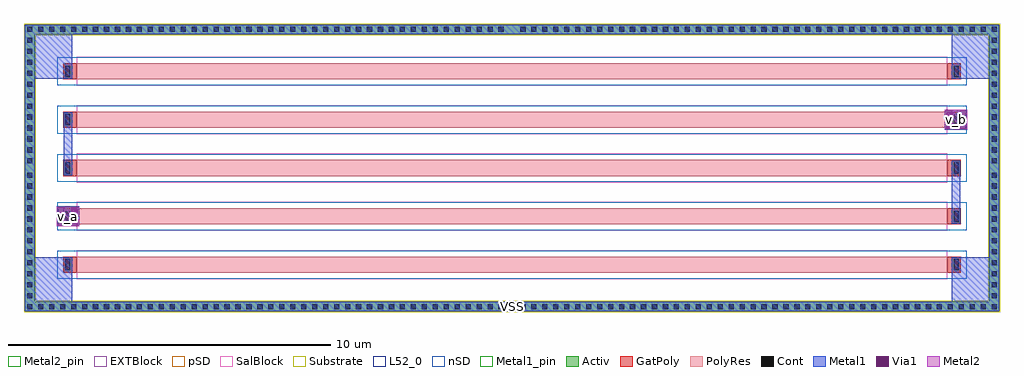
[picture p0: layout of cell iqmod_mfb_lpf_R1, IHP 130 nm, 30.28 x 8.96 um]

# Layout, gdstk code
from math import pi, radians
import gdstk
lib = gdstk.Library(unit=1e-6, precision=5e-09)
def R(c, l, rs):  # rectangles x0, y0, x1, y1
    for r in rs: c.add(gdstk.rectangle(r[:2], r[2:], *l))
def A(c, l, x, y, w, h, nx, ny, dx, dy):  # array of equal rectangles
    R(c, l, [(x+i*dx, y+j*dy, x+i*dx+w, y+j*dy+h) for i in range(nx) for j in range(ny)])
def P(c, l, *ps):  # polygons
    for p in ps: c.add(gdstk.Polygon(p, *l))
Activ = (1, 0)
GatPoly = (5, 0)
Cont = (6, 0)
nSD = (7, 0)
Metal1 = (8, 0)
Metal1_pin = (8, 2)
Metal2 = (10, 0)
Metal2_pin = (10, 2)
pSD = (14, 0)
Via1 = (19, 0)
SalBlock = (28, 0)
Substrate = (40, 0)
L52_0 = (52, 0)
EXTBlock = (111, 0)
PolyRes = (128, 0)

via_stack_1 = lib.new_cell('via_stack$1')
R(via_stack_1, Metal1, [(-0.35,-0.31,0.35,0.31)])
R(via_stack_1, Metal2, [(-0.35,-0.305,0.35,0.305)])
R(via_stack_1, Via1, [(-0.3,-0.3,-0.11,-0.11), (0.11,-0.3,0.3,-0.11), (-0.3,0.11,-0.11,0.3), (0.11,0.11,0.3,0.3)])

rhigh_3 = lib.new_cell('rhigh$3')
A(rhigh_3, GatPoly, 0, -0.43, 0.5, 0.43, 3, 2, 1.5, 27.43)
A(rhigh_3, Cont, 0.07, -0.36, 0.36, 0.16, 3, 2, 1.5, 27.56)
A(rhigh_3, nSD, -0.18, -0.61, 0.86, 0.79, 3, 2, 1.5, 27.43)
R(rhigh_3, nSD, [(-0.18,0,0.68,27), (-0.18,0,0.68,27), (1.32,0,2.18,27), (1.32,0,2.18,27), (2.82,0,3.68,27), (2.82,0,3.68,27)])
A(rhigh_3, Metal1, 0.02, -0.41, 0.46, 0.26, 3, 2, 1.5, 27.56)
R(rhigh_3, Metal1, [(1.52,-0.41,3.48,-0.15), (0.02,27.15,1.98,27.41)])
A(rhigh_3, Metal1_pin, 0.02, -0.41, 0.46, 0.26, 3, 2, 1.5, 27.56)
A(rhigh_3, pSD, -0.18, -0.61, 0.86, 0.79, 3, 2, 1.5, 27.43)
R(rhigh_3, pSD, [(-0.18,0,0.68,27), (-0.18,0,0.68,27), (1.32,0,2.18,27), (1.32,0,2.18,27), (2.82,0,3.68,27), (2.82,0,3.68,27)])
A(rhigh_3, SalBlock, -0.2, 0, 0.9, 27, 3, 1, 1.5, 0)
A(rhigh_3, L52_0, 0, 0, 0.5, 27, 3, 1, 1.5, 0)
A(rhigh_3, EXTBlock, -0.18, -0.61, 0.86, 0.79, 3, 2, 1.5, 27.43)
A(rhigh_3, EXTBlock, -0.2, 0, 0.9, 27, 3, 1, 1.5, 0)
A(rhigh_3, PolyRes, 0, 0, 0.5, 27, 3, 1, 1.5, 0)
rhigh_3.add(gdstk.Label('rhigh r=80146.087', (0.25,13.5), layer=63, texttype=0))
rhigh_3.add(gdstk.Label('rhigh r=80146.087', (0.25,13.5), layer=63, texttype=0))
rhigh_3.add(gdstk.Label('rhigh r=80146.087', (0.25,13.5), layer=63, texttype=0))
rhigh_3.add(gdstk.Label('rhigh', (0.25,13.5), layer=52, texttype=0))
rhigh_3.add(gdstk.Label('rhigh', (1.75,13.5), layer=52, texttype=0))
rhigh_3.add(gdstk.Label('rhigh', (3.25,13.5), layer=52, texttype=0))

rhigh_2 = lib.new_cell('rhigh$2')
R(rhigh_2, Activ, [(-1.2,-1.31,-0.9,28.31), (7.4,-1.31,7.7,28.31), (-1.2,28.31,7.7,28.61)])
P(rhigh_2, Activ, [(-1.2,-1.61),(-1.2,28.31),(-0.9,28.31),(-0.9,-1.31),(7.4,-1.31),(7.4,28.31),(-1.2,28.31),(-1.2,28.61),(7.7,28.61),(7.7,-1.61)])
R(rhigh_2, GatPoly, [(0,-0.43,0.5,0), (6,-0.43,6.5,0), (0,27,0.5,27.43), (6,27,6.5,27.43)])
A(rhigh_2, Cont, -1.13, -1.54, 0.16, 0.16, 13, 2, 0.34, 29.92)
A(rhigh_2, Cont, 3.39, -1.54, 0.16, 0.16, 13, 2, 0.34, 29.92)
A(rhigh_2, Cont, -1.13, -1.2, 0.16, 0.16, 1, 43, 0, 0.34)
A(rhigh_2, Cont, 7.47, -1.2, 0.16, 0.16, 1, 43, 0, 0.34)
A(rhigh_2, Cont, -1.13, 13.76, 0.16, 0.16, 1, 43, 0, 0.34)
A(rhigh_2, Cont, 7.47, 13.76, 0.16, 0.16, 1, 43, 0, 0.34)
R(rhigh_2, Cont, [(0.07,-0.36,0.43,-0.2), (6.07,-0.36,6.43,-0.2), (0.07,27.2,0.43,27.36), (6.07,27.2,6.43,27.36)])
R(rhigh_2, nSD, [(-0.18,-0.61,0.68,0.18), (5.82,-0.61,6.68,0.18), (-0.18,0,0.68,27), (-0.18,0,0.68,27), (5.82,0,6.68,27), (5.82,0,6.68,27), (-0.18,26.82,0.68,27.61), (5.82,26.82,6.68,27.61)])
R(rhigh_2, Metal1, [(-1.2,-1.61,7.7,-1.31), (-1.2,-1.31,-0.9,28.31), (7.4,-1.31,7.7,28.31), (0.02,-0.41,0.48,-0.15), (6.02,-0.41,6.48,-0.15), (0.02,27.15,0.48,27.41), (6.02,27.15,6.48,27.41), (-1.2,28.31,7.7,28.61)])
R(rhigh_2, Metal1_pin, [(0.02,-0.41,0.48,-0.15), (6.02,-0.41,6.48,-0.15), (0.02,27.15,0.48,27.41), (6.02,27.15,6.48,27.41)])
R(rhigh_2, pSD, [(-1.23,-1.28,-0.87,28.28), (7.37,-1.28,7.73,28.28), (-0.18,-0.61,0.68,0.18), (5.82,-0.61,6.68,0.18), (-0.18,0,0.68,27), (-0.18,0,0.68,27), (5.82,0,6.68,27), (5.82,0,6.68,27), (-0.18,26.82,0.68,27.61), (5.82,26.82,6.68,27.61), (-1.23,28.28,7.73,28.64)])
P(rhigh_2, pSD, [(-1.23,-1.64),(-1.23,28.28),(-0.87,28.28),(-0.87,-1.28),(7.37,-1.28),(7.37,28.28),(-1.23,28.28),(-1.23,28.64),(7.73,28.64),(7.73,-1.64)])
R(rhigh_2, SalBlock, [(-0.2,0,0.7,27), (5.8,0,6.7,27)])
R(rhigh_2, Substrate, [(-1.23,-1.28,-0.87,28.28), (7.37,-1.28,7.73,28.28), (-1.23,28.28,7.73,28.64)])
P(rhigh_2, Substrate, [(-1.23,-1.64),(-1.23,28.28),(-0.87,28.28),(-0.87,-1.28),(7.37,-1.28),(7.37,28.28),(-1.23,28.28),(-1.23,28.64),(7.73,28.64),(7.73,-1.64)])
R(rhigh_2, L52_0, [(0,0,0.5,27), (6,0,6.5,27)])
R(rhigh_2, EXTBlock, [(-0.18,-0.61,0.68,0.18), (5.82,-0.61,6.68,0.18), (-0.2,0,0.7,27), (5.8,0,6.7,27), (-0.18,26.82,0.68,27.61), (5.82,26.82,6.68,27.61)])
R(rhigh_2, PolyRes, [(0,0,0.5,27), (6,0,6.5,27)])
rhigh_2.add(gdstk.Label('rhigh r=80146.087', (0.25,13.5), layer=63, texttype=0))
rhigh_2.add(gdstk.Label('rhigh r=80146.087', (0.25,13.5), layer=63, texttype=0))
rhigh_2.add(gdstk.Label('sub!', (3.25,-1.46), layer=63, texttype=0))
rhigh_2.add(gdstk.Label('rhigh', (0.25,13.5), layer=52, texttype=0))
rhigh_2.add(gdstk.Label('rhigh', (6.25,13.5), layer=52, texttype=0))

iqmod_mfb_lpf_r1 = lib.new_cell('iqmod_mfb_lpf_R1')
R(iqmod_mfb_lpf_r1, Metal1, [(0.03,0.03,1.49,1.71), (15,0.03,15.32,0.33), (28.79,0.03,30.25,1.71), (0.03,7.25,1.49,8.93), (28.79,7.25,30.25,8.93)])
R(iqmod_mfb_lpf_r1, Metal1_pin, [(15.035,0.055,15.285,0.305)])
R(iqmod_mfb_lpf_r1, Metal2_pin, [(1.25,2.87,1.47,3.09), (28.81,5.87,29.03,6.09)])
iqmod_mfb_lpf_r1.add(gdstk.Reference(via_stack_1, (1.36,2.98), x_reflection=True))
iqmod_mfb_lpf_r1.add(gdstk.Reference(rhigh_3, (1.64,2.73), rotation=pi/2, x_reflection=True))
iqmod_mfb_lpf_r1.add(gdstk.Reference(rhigh_2, (1.64,1.23), rotation=pi/2, x_reflection=True))
iqmod_mfb_lpf_r1.add(gdstk.Reference(via_stack_1, (28.92,5.98), x_reflection=True))
iqmod_mfb_lpf_r1.add(gdstk.Label('VSS', (15.16,0.18), layer=8, texttype=25))
iqmod_mfb_lpf_r1.add(gdstk.Label('v_b', (28.92,5.98), layer=10, texttype=25))
iqmod_mfb_lpf_r1.add(gdstk.Label('v_a', (1.36,2.98), layer=10, texttype=25))

lib.write_gds('iqmod_mfb_lpf_R1.gds')
